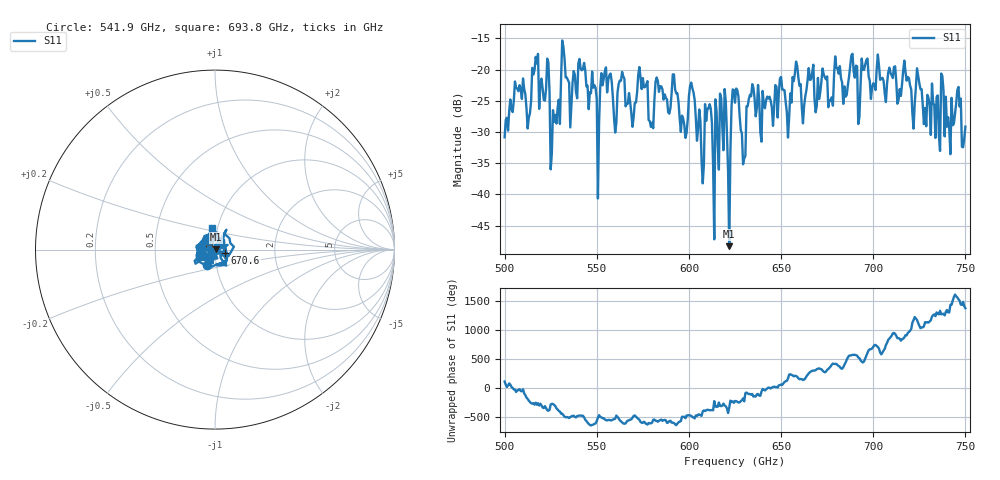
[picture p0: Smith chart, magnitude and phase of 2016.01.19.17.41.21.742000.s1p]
!Created with skrf (http://scikit-rf.org).
# GHz S RI R 50.0
!freq ReS11 ImS11
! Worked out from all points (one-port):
!   401 points, 500 GHz to 750 GHz, reference 50 ohm
!   lowest |S11| = -48.3 dB at 621.9 GHz (marker M1), VSWR 1.01, Z = 50.4 + j0.153 ohm
!   |S11| at or under -10 dB: start of sweep to end of sweep
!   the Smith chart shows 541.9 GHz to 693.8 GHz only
!   S11 on the Smith chart (normalised r, x): 541.9 GHz: 0.90, -0.16; 670.6 GHz: 1.12, -0.04; 693.8 GHz: 0.94, +0.23
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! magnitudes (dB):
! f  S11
! 500 GHz  -30.9
! 506.9 GHz  -23.1
! 513.1 GHz  -27.7
! 516.9 GHz  -18.0
! 526.2 GHz  -26.5
! 531.2 GHz  -15.3
! 541.9 GHz  -20.1
! 550 GHz  -24.8
! 553.8 GHz  -21.5
! 560 GHz  -30.1
! 562.5 GHz  -21.8
! 579.4 GHz  -29.2
! 593.8 GHz  -23.8
! 601.9 GHz  -23.0
! 606.9 GHz  -34.7
! 611.2 GHz  -25.6
! 615 GHz  -26.8
! 618.1 GHz  -29.2
! 621.9 GHz  -48.3
! 625 GHz  -25.3
! 629.4 GHz  -35.2
! 633.8 GHz  -24.3
! 656.2 GHz  -21.2
! 670.6 GHz  -24.7
! 687.5 GHz  -19.4
! 693.8 GHz  -18.2
! 718.8 GHz  -21.2
! 750 GHz  -29.2
